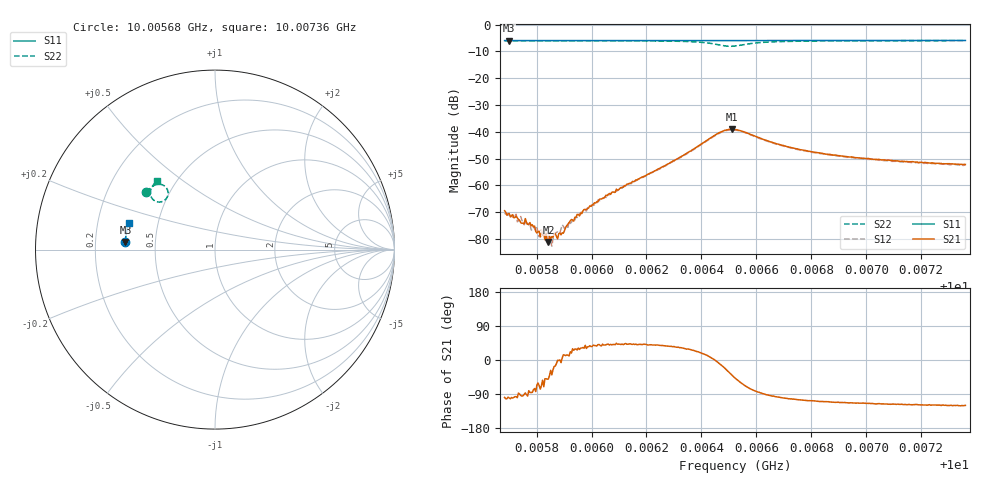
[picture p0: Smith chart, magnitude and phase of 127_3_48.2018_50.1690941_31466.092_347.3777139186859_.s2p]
#  HZ  S  RI  R  50.00
! Rohde & Schwarz Vector Network Analyzer
! Rohde-Schwarz,ZNB20-2Port,1311601062101988,3.16
! Created: UTC 3/20/2024, 11:41:46 AM
! freq[Hz]  re:S11  im:S11  re:S21  im:S21  re:S12  im:S12  re:S22  im:S22
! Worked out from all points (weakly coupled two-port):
!   401 points, 10.00568 GHz to 10.00736 GHz, reference 50 ohm
!   highest |S21| = -39.03 dB at 10.00651 GHz (marker M1); lowest = -81.1 dB at 10.00584 GHz (marker M2)
!   lowest |S11| = -6.0 dB at 10.0057 GHz (marker M3), VSWR 3.01, Z = 16.7 + j1.92 ohm
!   |S11| at or under -10 dB: nowhere
!   |S22| runs from -8.1 to -6.0 dB; largest |S21 - S12| = 0.00068
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1.0005684e10  -0.4992 0.0421  -5.15e-05 -0.000334  -4.96e-05 -0.0003  -0.3822 0.3186
1.00057e10  -0.4991 0.0432  -5.2e-05 -0.000296  -2.28e-05 -0.000289  -0.3811 0.3196
1.0005721e10  -0.499 0.0446  -3.11e-05 -0.000251  -7.66e-06 -0.000257  -0.3801 0.3207
1.0005747e10  -0.4989 0.0461  -1.81e-05 -0.000197  1.37e-05 -0.000225  -0.3788 0.3222
1.0005768e10  -0.499 0.0475  -1.7e-05 -0.000188  -8.06e-06 -0.000199  -0.378 0.3236
1.0005784e10  -0.4988 0.0486  1.41e-05 -0.000185  3.58e-05 -0.000141  -0.377 0.3246
1.0005805e10  -0.4987 0.0499  6.77e-05 -0.00012  3.09e-05 -0.000128  -0.3758 0.3259
1.0005843e10  -0.4986 0.0526  5.69e-05 -6.79e-05  8.45e-05 -9.39e-05  -0.3739 0.3283
1.0005856e10  -0.4984 0.0533  8.68e-05 -7.07e-05  5.85e-05 -4.53e-05  -0.3733 0.3291
1.0005885e10  -0.4983 0.0553  0.000131 7.4e-07  0.000131 1.08e-05  -0.3717 0.3311
1.0005898e10  -0.4983 0.056  0.000125 3.1e-05  0.000173 2.19e-05  -0.3708 0.332
1.0005918e10  -0.4982 0.0574  0.000201 3.8e-05  0.000205 6.68e-05  -0.3697 0.3331
1.0005965e10  -0.4978 0.0603  0.000255 0.000156  0.000266 0.000177  -0.3668 0.3363
1.0006057e10  -0.4973 0.0663  0.000484 0.000427  0.00045 0.000426  -0.3602 0.3427
1.0006246e10  -0.4958 0.0785  0.00161 0.00129  0.00152 0.00134  -0.3398 0.3578
1.0006459e10  -0.493 0.0922  0.00925 -0.000961  0.00904 -0.000468  -0.2637 0.3294
1.000651e10  -0.4924 0.0948  0.0087 -0.00703  0.00886 -0.00642  -0.28 0.2754
1.0006522e10  -0.4924 0.0955  0.00744 -0.00815  0.00777 -0.00756  -0.2933 0.268
1.0006614e10  -0.4922 0.1011  0.00044 -0.00759  0.000783 -0.00738  -0.3555 0.2935
1.0006803e10  -0.4901 0.1134  -0.00127 -0.00405  -0.00111 -0.00402  -0.3555 0.3397
1.0007084e10  -0.4863 0.1313  -0.00132 -0.00265  -0.00115 -0.00261  -0.3391 0.3656
1.0007361e10  -0.4818 0.1486  -0.00123 -0.00214  -0.0011 -0.00214  -0.3241 0.3823
